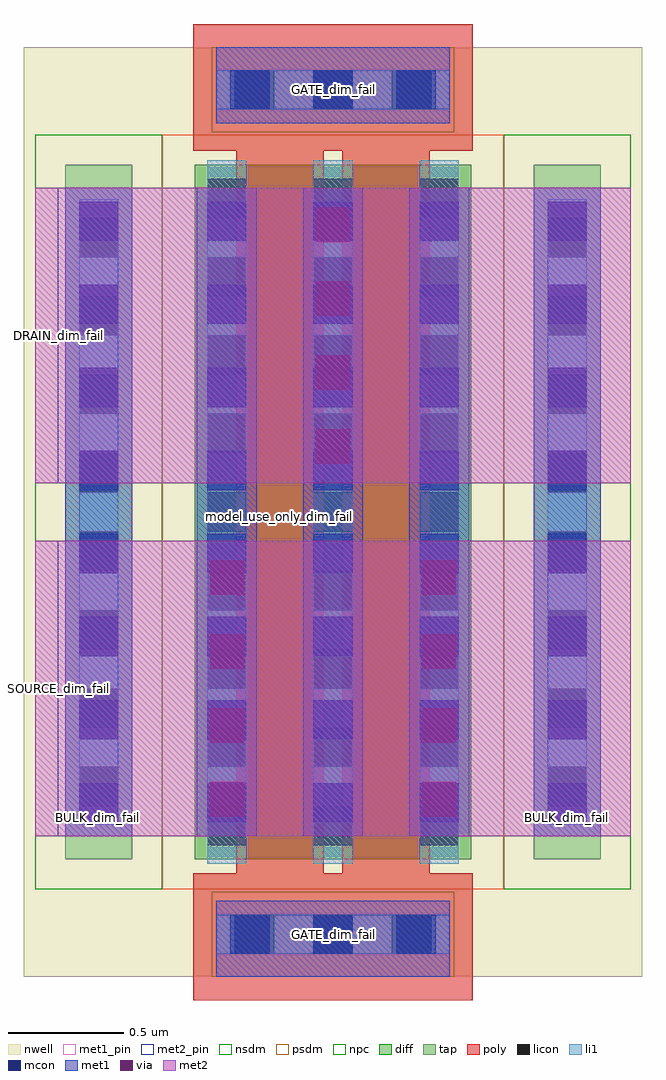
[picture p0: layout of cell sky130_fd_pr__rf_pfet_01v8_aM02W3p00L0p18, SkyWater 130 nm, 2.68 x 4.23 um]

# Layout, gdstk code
import gdstk
lib = gdstk.Library(unit=1e-6, precision=1e-09)
def R(c, l, rs):  # rectangles x0, y0, x1, y1
    for r in rs: c.add(gdstk.rectangle(r[:2], r[2:], *l))
def A(c, l, x, y, w, h, nx, ny, dx, dy):  # array of equal rectangles
    R(c, l, [(x+i*dx, y+j*dy, x+i*dx+w, y+j*dy+h) for i in range(nx) for j in range(ny)])
def P(c, l, *ps):  # polygons
    for p in ps: c.add(gdstk.Polygon(p, *l))
nwell = (64, 20)
diff = (65, 20)
tap = (65, 44)
poly = (66, 20)
licon = (66, 44)
li1 = (67, 20)
mcon = (67, 44)
met1_pin = (68, 16)
met1 = (68, 20)
via = (68, 44)
met2_pin = (69, 16)
met2 = (69, 20)
nsdm = (93, 44)
psdm = (94, 20)
npc = (95, 20)

sky130_fd_pr__rf_pfet_01 = lib.new_cell('sky130_fd_pr__rf_pfet_01v8_aM02W3p00L0p18')
R(sky130_fd_pr__rf_pfet_01, nwell, [(0,0,2.68,4.03)])
R(sky130_fd_pr__rf_pfet_01, diff, [(0.74,0.51,1.94,3.52)])
R(sky130_fd_pr__rf_pfet_01, tap, [(0.18,0.51,0.47,3.52), (2.21,0.51,2.5,3.52)])
P(sky130_fd_pr__rf_pfet_01, poly, [(0.735,-0.1),(0.735,0.45),(0.92,0.45),(0.92,3.58),(1.3,3.58),(1.3,0.45),(1.38,0.45),(1.38,3.58),(0.735,3.58),(0.735,4.13),(1.945,4.13),(1.945,3.58),(1.76,3.58),(1.76,0.45),(1.945,0.45),(1.945,-0.1)])
A(sky130_fd_pr__rf_pfet_01, licon, 0.915, 0.1, 0.17, 0.17, 3, 2, 0.34, 3.66)
A(sky130_fd_pr__rf_pfet_01, licon, 0.795, 0.57, 0.17, 0.17, 3, 9, 0.46, 0.34)
A(sky130_fd_pr__rf_pfet_01, licon, 0.24, 0.74, 0.17, 0.17, 1, 8, 0, 0.34)
A(sky130_fd_pr__rf_pfet_01, licon, 2.27, 0.74, 0.17, 0.17, 1, 8, 0, 0.34)
A(sky130_fd_pr__rf_pfet_01, li1, 0.795, 0.49, 0.17, 3.05, 3, 1, 0.46, 0)
A(sky130_fd_pr__rf_pfet_01, li1, 0.795, 0.67, 0.17, 2.69, 3, 1, 0.46, 0)
R(sky130_fd_pr__rf_pfet_01, li1, [(0.835,0.1,1.845,0.27), (0.895,0.1,1.785,0.27), (0.24,0.66,0.41,3.37), (2.27,0.66,2.44,3.37), (0.24,0.67,0.41,3.36), (2.27,0.67,2.44,3.36), (0.835,3.76,1.845,3.93), (0.895,3.76,1.785,3.93)])
A(sky130_fd_pr__rf_pfet_01, mcon, 0.895, 0.1, 0.17, 0.17, 3, 2, 0.36, 3.66)
A(sky130_fd_pr__rf_pfet_01, mcon, 0.24, 0.67, 0.17, 0.17, 1, 8, 0, 0.36)
A(sky130_fd_pr__rf_pfet_01, mcon, 0.795, 0.67, 0.17, 0.17, 3, 8, 0.46, 0.36)
A(sky130_fd_pr__rf_pfet_01, mcon, 2.27, 0.67, 0.17, 0.17, 1, 8, 0, 0.36)
R(sky130_fd_pr__rf_pfet_01, met1_pin, [(0.835,0,1.845,0.33), (0.18,0.61,0.47,0.69), (2.21,0.61,2.5,0.69), (0.835,3.7,1.845,4.03)])
A(sky130_fd_pr__rf_pfet_01, met1, 0.75, 0.61, 0.26, 2.81, 3, 1, 0.46, 0)
R(sky130_fd_pr__rf_pfet_01, met1, [(0.835,0,1.845,0.33), (0.18,0.61,0.47,3.42), (0.75,0.61,1.01,1.89), (1.67,0.61,1.93,1.89), (2.21,0.61,2.5,3.42), (1.21,2.14,1.47,3.42), (0.835,3.7,1.845,4.03)])
A(sky130_fd_pr__rf_pfet_01, via, 0.805, 0.695, 0.15, 0.15, 1, 4, 0, 0.32)
A(sky130_fd_pr__rf_pfet_01, via, 1.725, 0.695, 0.15, 0.15, 1, 4, 0, 0.32)
A(sky130_fd_pr__rf_pfet_01, via, 1.265, 2.225, 0.15, 0.15, 1, 4, 0, 0.32)
R(sky130_fd_pr__rf_pfet_01, met2_pin, [(0.05,0.61,0.15,1.89), (0.05,2.14,0.15,3.42)])
R(sky130_fd_pr__rf_pfet_01, met2, [(0.05,0.61,2.63,1.89), (0.75,0.61,1.01,1.89), (1.67,0.61,1.93,1.89), (0.05,2.14,2.63,3.42), (1.21,2.14,1.47,3.42)])
R(sky130_fd_pr__rf_pfet_01, nsdm, [(0.05,0.38,0.6,3.65), (2.08,0.38,2.63,3.65)])
R(sky130_fd_pr__rf_pfet_01, psdm, [(0.6,0.38,2.08,3.65)])
R(sky130_fd_pr__rf_pfet_01, npc, [(0.815,0,1.865,0.37), (0.815,3.66,1.865,4.03)])
sky130_fd_pr__rf_pfet_01.add(gdstk.Label('model_use_only_dim_fail', (1.11,1.995), layer=66, texttype=83))
sky130_fd_pr__rf_pfet_01.add(gdstk.Label('model_use_only_dim_fail', (1.57,1.995), layer=66, texttype=83))
sky130_fd_pr__rf_pfet_01.add(gdstk.Label('SOURCE_dim_fail', (0.15,1.25), layer=69, texttype=5))
sky130_fd_pr__rf_pfet_01.add(gdstk.Label('DRAIN_dim_fail', (0.15,2.78), layer=69, texttype=5))
sky130_fd_pr__rf_pfet_01.add(gdstk.Label('GATE_dim_fail', (1.34,3.845), layer=68, texttype=5))
sky130_fd_pr__rf_pfet_01.add(gdstk.Label('GATE_dim_fail', (1.34,0.185), layer=68, texttype=5))
sky130_fd_pr__rf_pfet_01.add(gdstk.Label('BULK_dim_fail', (2.35,0.69), layer=68, texttype=5))
sky130_fd_pr__rf_pfet_01.add(gdstk.Label('BULK_dim_fail', (0.32,0.69), layer=68, texttype=5))

lib.write_gds('sky130_fd_pr__rf_pfet_01v8_aM02W3p00L0p18.gds')
